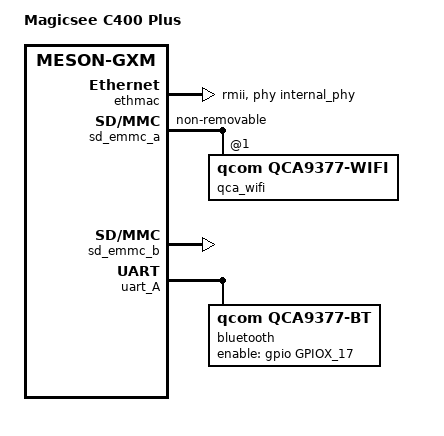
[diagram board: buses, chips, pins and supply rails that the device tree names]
/dts-v1/;

#include "meson-gxm.dtsi"
#include "meson-gx-p23x-q20x.dtsi"

/ {
	compatible = "magicsee,c400-plus", "amlogic,s912", "amlogic,meson-gxm";
	model = "Magicsee C400 Plus";
};

&ethmac {
	phy-mode = "rmii";
	phy-handle = <&internal_phy>;
};

&sd_emmc_a {
	status = "okay";
	max-frequency = <50000000>;
	non-removable;
	qca_wifi: wifi@1 {
		reg = <1>;
		compatible = "qcom,qca9377-wifi";
	};
};

&sd_emmc_b {
	status = "okay";
	broken-cd;
};

&uart_A {
	status = "okay";
	pinctrl-0 = <&uart_a_pins>, <&uart_a_cts_rts_pins>;
	pinctrl-names = "default";
	uart-has-rtscts;

	bluetooth {
		compatible = "qcom,qca9377-bt";
		enable-gpios = <&gpio GPIOX_17 GPIO_ACTIVE_HIGH>;
		max-speed = <2000000>;
		clocks = <&wifi32k>;
		clock-names = "lpo";
	};
};

